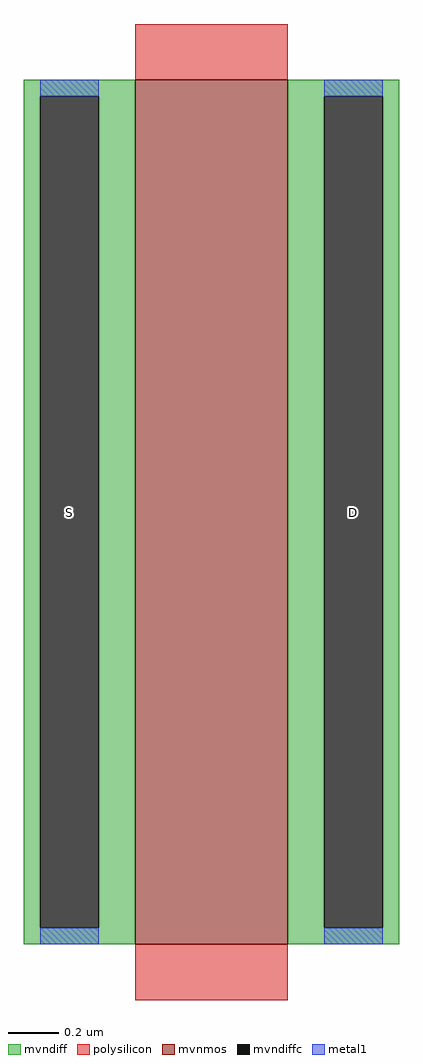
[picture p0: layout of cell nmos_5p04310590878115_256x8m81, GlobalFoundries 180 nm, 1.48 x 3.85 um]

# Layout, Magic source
magic
tech gf180mcuB
magscale 1 10
<< mvnmos >>
rect 0 0 120 682
<< mvndiff >>
rect -88 669 0 682
rect -88 13 -75 669
rect -29 13 0 669
rect -88 0 0 13
rect 120 669 208 682
rect 120 13 149 669
rect 195 13 208 669
rect 120 0 208 13
<< mvndiffc >>
rect -75 13 -29 669
rect 149 13 195 669
<< polysilicon >>
rect 0 682 120 726
rect 0 -44 120 0
<< metal1 >>
rect -75 669 -29 682
rect -75 0 -29 13
rect 149 669 195 682
rect 149 0 195 13
<< labels >>
flabel metal1 s -52 341 -52 341 0 FreeSans 200 0 0 0 S
flabel metal1 s 172 341 172 341 0 FreeSans 200 0 0 0 D
<< properties >>
string GDS_END 134346
string GDS_FILE $PDKPATH/libs.ref/gf180mcu_fd_ip_sram/gds/gf180mcu_fd_ip_sram__sram256x8m8wm1.gds
string GDS_START 132554
<< end >>
